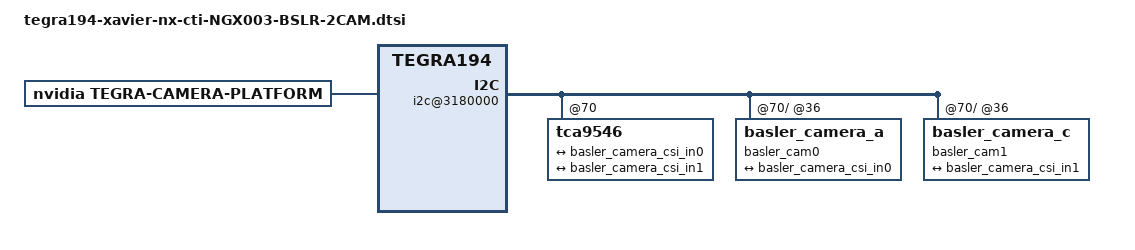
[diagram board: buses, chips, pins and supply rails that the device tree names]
/*
 * Copyright (c) 2021-2022, NVIDIA CORPORATION.  All rights reserved.
 *
 * This program is free software; you can redistribute it and/or modify
 * it under the terms of the GNU General Public License as published by
 * the Free Software Foundation; either version 2 of the License, or
 * (at your option) any later version.
 *
 * This program is distributed in the hope that it will be useful, but WITHOUT
 * ANY WARRANTY; without even the implied warranty of MERCHANTABILITY or
 * FITNESS FOR A PARTICULAR PURPOSE.  See the GNU General Public License for
 * more details.
 *
 * You should have received a copy of the GNU General Public License
 * along with this program.  If not, see <http://www.gnu.org/licenses/>.
 */

#include <dt-bindings/media/camera.h>

#define SENSOR_COMMON   compatible = "basler,basler-camera"; \
                        physical_w = "3.680"; \
                        physical_h = "2.760"; \
                        reg = <0x36>; \
                        sensor_model = "basler-mcm"; 
                        

/ {
		tegra-capture-vi  {
			num-channels = <2>;
			ports {
				#address-cells = <1>;
				#size-cells = <0>;
				port@0 {
					reg = <0>;
					basler_camera_vi_in0: endpoint {
						port-index = <0>;
						bus-width = <2>;
						remote-endpoint = <&basler_camera_csi_out0>;
					};
				};
				port@1 {
					reg = <1>;
					basler_camera_vi_in1: endpoint {
						port-index = <2>;
						bus-width = <2>;
						remote-endpoint = <&basler_camera_csi_out1>;
					};
				};
			};
		};

	host1x@13e00000 {
		nvcsi@15a00000 {
			num-channels = <2>;
			#address-cells = <1>;
			#size-cells = <0>;
			channel@0 {
				reg = <0>;
				ports {
					#address-cells = <1>;
					#size-cells = <0>;
					port@0 {
						reg = <0>;
						basler_camera_csi_in0: endpoint@0 {
							port-index = <0>;
							bus-width = <2>;
							remote-endpoint = <&basler_camera_out0>;
						};
					};
					port@1 {
						reg = <1>;
						basler_camera_csi_out0: endpoint@1 {
							remote-endpoint = <&basler_camera_vi_in0>;
						};
					};
				};
			};
			channel@1 {
				reg = <1>;
				ports {
					#address-cells = <1>;
					#size-cells = <0>;
					port@2 {
						reg = <0>;
						basler_camera_csi_in1: endpoint@2 {
							port-index = <2>;
							bus-width = <2>;
							remote-endpoint = <&basler_camera_out1>;
						};
					};
					port@3 {
						reg = <1>;
						basler_camera_csi_out1: endpoint@3 {
							remote-endpoint = <&basler_camera_vi_in1>;
						};
					};
				};
			};
		};
	};

	i2c@3180000 {
     tca9546@70 {
		i2c@0 {
			basler_cam0: basler_camera_a@36 {
				SENSOR_COMMON
                devnode = "video0";
                status = "okay";
				mode0 { 
					tegra_sinterface = "serial_a";
				};

				ports {
					#address-cells = <1>;
					#size-cells = <0>;

					port@0 {
						reg = <0>;
						basler_camera_out0: endpoint {
							port-index = <0>;
							bus-width = <2>;
							remote-endpoint = <&basler_camera_csi_in0>;
                            data-lanes = <1 2>;
                            clock-lanes = <0>;
                            link-frequencies = /bits/ 64 <600000000>;
						};
					};
				};
			};
		};
		i2c@1 {
			basler_cam1: basler_camera_c@36 {
				SENSOR_COMMON
                devnode = "video1";
                status = "okay";
				mode0 { 
					tegra_sinterface = "serial_c";
				};

				ports {
					#address-cells = <1>;
					#size-cells = <0>;

					port@0 {
						reg = <0>;
						basler_camera_out1: endpoint {
							port-index = <2>;
							bus-width = <2>;
							remote-endpoint = <&basler_camera_csi_in1>;
                            data-lanes = <1 2>;
                            clock-lanes = <0>;
                            link-frequencies = /bits/ 64 <600000000>;
						};
					};
				};
			};
		};
	};
};
};

/ {
	tegra-camera-platform {
		compatible = "nvidia, tegra-camera-platform";

		/**
		* Physical settings to calculate max ISO BW
		*
		* num_csi_lanes = <>;
		* Total number of CSI lanes when all cameras are active
		*
		* max_lane_speed = <>;
		* Max lane speed in Kbit/s
		*
		* min_bits_per_pixel = <>;
		* Min bits per pixel
		*
		* vi_peak_byte_per_pixel = <>;
		* Max byte per pixel for the VI ISO case
		*
		* vi_bw_margin_pct = <>;
		* Vi bandwidth margin in percentage
		*
		* max_pixel_rate = <>;
		* Max pixel rate in Kpixel/s for the ISP ISO case
		*
		* isp_peak_byte_per_pixel = <>;
		* Max byte per pixel for the ISP ISO case
		*
		* isp_bw_margin_pct = <>;
		* Isp bandwidth margin in percentage
		*/
		num_csi_lanes = <4>;
		max_lane_speed = <1500000>;
		min_bits_per_pixel = <10>;
		vi_peak_byte_per_pixel = <2>;
		vi_bw_margin_pct = <25>;
		max_pixel_rate = <240000>;
		isp_peak_byte_per_pixel = <5>;
		isp_bw_margin_pct = <25>;

		/**
		 * The general guideline for naming badge_info contains 3 parts, and is as follows,
		 * The first part is the camera_board_id for the module; if the module is in a FFD
		 * platform, then use the platform name for this part.
		 * The second part contains the position of the module, ex. "rear" or "front".
		 * The third part contains the last 6 characters of a part number which is found
		 * in the module's specsheet from the vendor.
		 */
		modules {
			module0 {
				badge = "xavier_nx_front_basler";
				position = "front";
				orientation = "1";
				drivernode0 {
					pcl_id = "v4l2_sensor";
					devname = "basler 9-0036";
					proc-device-tree = "/proc/device-tree/i2c@3180000/tca9546@70/i2c@0/basler_camera_a@36";
				};
			};
			module1 {
				badge = "xavier_nx_rear_basler";
				position = "rear";
				orientation = "1";
				drivernode0 {
					pcl_id = "v4l2_sensor";
					devname = "basler 10-0036";
					proc-device-tree = "/proc/device-tree/i2c@3180000/tca9546@70/i2c@1/basler_camera_c@36";
				};
			};
		};
	};
};
